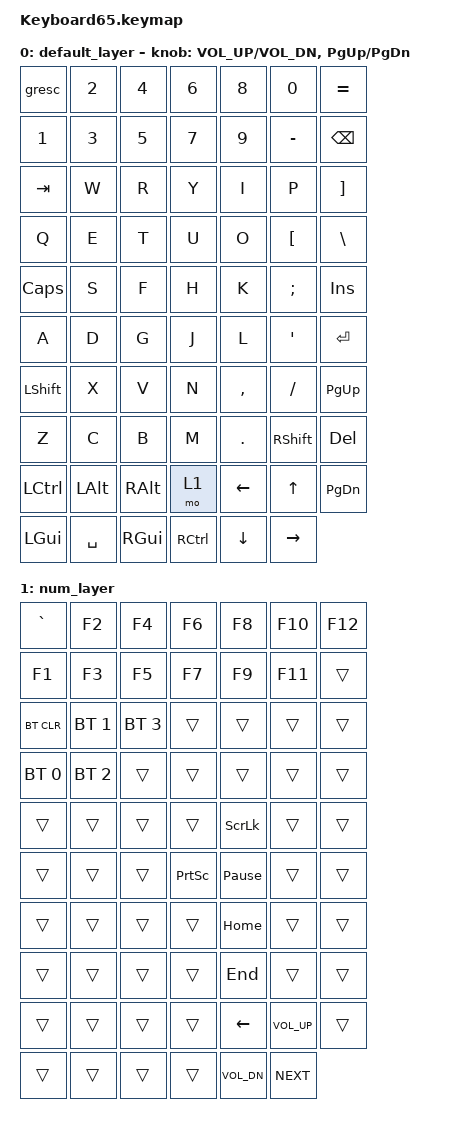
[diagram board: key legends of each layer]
/*
 * Copyright (c) 2021 Nick Winans
 *
 * SPDX-License-Identifier: MIT
 */

#include <behaviors.dtsi>
#include <dt-bindings/zmk/keys.h>
#include <dt-bindings/zmk/bt.h>

&gresc { keep-mods = <(MOD_LSFT|MOD_RSFT)>; };

/ {
    keymap {
        compatible = "zmk,keymap";

        default_layer {
// --------------------------------------------------------------------------------------------------------
// | ESC |  1  |  2  |  3  |  4  |  5  |  6  |  7  |  8  |  9  |  0  |  -  |  =  |  BSPC |  | Ins | PgU | |
// | TAB  |  Q  |  W  |  E  |  R  |  T  |  Y  |  U  |  I  |  O  |  P  |  [  |  ]  | "|"  |  | Del | PgD | |
// | CAPS  |  A  |  S  |  D  |  F  |  G  |  H  |  J  |  K  |  L  |  ;  |  '  |   ENTER   |                |
// |  SHIFT  |  Z  |  X  |  C  |  V  |  B  |  N  |  M  |  ,  |  .  |  /  |     SHIFT     |  |  UP |       |
// |  CTL  |  WIN  |  ALT  |            SPACE              |  ALT  |  Fn  |  CTL  |   | LFT | DWN | RGHT| |
// --------------------------------------------------------------------------------------------------------
// --------------------------------------------------------------------------------------------------------
// | R0C0| R1C0| R0C1| R1C1| R0C2| R1C2| R0C3| R1C3| R0C4| R1C4| R0C5| R1C5| R0C6|  R1C6 |  | R4C6| R6C6| |
// | R2C0 | R3C0| R2C1| R3C1| R2C2| R3C2| R2C3| R3C3| R2C4| R3C4| R2C5| R3C5| R2C6| R3C6 |  | R7C6| R8C6| |
// | R4C0  | R5C0| R4C1| R5C1| R4C2| R5C2| R4C3| R5C3| R4C4| R5C4| R4C5| R5C5|    R5C6   |                |
// |  R6C0   | R7C0| R6C1| R7C1| R6C2| R7C2| R6C3| R7C3| R6C4| R7C4| R6C5|      R7C5     |  | R8C5|       |
// |  R8C0 |  R9C0 |  R8C1 |             R9C1              |  R8C2 | R8C3 |  R9C3 |   | R8C4| R9C4| R9C5| |
// --------------------------------------------------------------------------------------------------------
// prettify
// ----------------------------------------------
// | ESC |  2  |  4  |  6  |  8  |  0  |  =  |  |
// |  1  |  3  |  5  |  7  |  9  |  -  | BSPC|  |
// | TAB |  W  |  R  |  Y  |  I  |  P  |  ]  |  |
// |  Q  |  E  |  T  |  U  |  O  |  [  | "|" |  |
// | CAPS|  S  |  F  |  H  |  K  |  ;  | Ins |  |
// |  A  |  D  |  G  |  J  |  L  |  '  |ENTER|  |
// |SHIFT|  X  |  V  |  N  |  ,  |  /  | PgU |  |
// |  Z  |  C  |  B  |  M  |  .  |SHIFT| Del |  |
// | CTL | ALT | ALT |  Fn | LFT |  UP | PgD |  |
// | WIN |SPACE| KNOB| CTL | DWN | RGHT|        |
// ----------------------------------------------
        bindings = <
    &gresc      &kp N2      &kp N4      &kp N6              &kp N8      &kp N0      &kp EQUAL
    &kp N1      &kp N3      &kp N5      &kp N7              &kp N9      &kp MINUS   &kp BSPC
    &kp TAB     &kp W       &kp R       &kp Y               &kp I       &kp P       &kp RBKT
    &kp Q       &kp E       &kp T       &kp U               &kp O       &kp LBKT    &kp BSLH
    &kp CLCK    &kp S       &kp F       &kp H               &kp K       &kp SEMI    &kp INS
    &kp A       &kp D       &kp G       &kp J               &kp L       &kp SQT     &kp RET
    &kp LSHFT   &kp X       &kp V       &kp N               &kp COMMA   &kp FSLH    &kp PG_UP
    &kp Z       &kp C       &kp B       &kp M               &kp DOT     &kp RSHFT   &kp DEL
    &kp LCTRL   &kp LALT    &kp RALT    &mo 1               &kp LEFT    &kp UP      &kp PG_DN
    &kp LGUI    &kp SPACE   &kp RGUI    &kp RCTRL           &kp DOWN    &kp RIGHT     
            >;
            sensor-bindings = <&inc_dec_kp C_VOL_UP C_VOL_DN &inc_dec_kp PG_UP PG_DN>;
        };

    

        num_layer {
// ------------------------------------------------------------------------------------------------
// | BT CLR | F1  | F2  | F3  | F4  | F5  | F6  | F7  | F8  | F9  | F10  | F11 | F12 | EFFECT REV |
// |  BT 1   |   |  UP |   | HUEUP | SATUP | BRIUP | SPDUP |   |     |    |     |     |           |
// |   BT 2   | LT |  DN  | RT | HUEDN | SATDN | BRIDN | SPDDN |   |     |   |     |  EFFECT FORW |
// |    BT 3     |     |      |      |     |     |     |     |     |     |     |                  |
// |   BT 4  |      |      |             TOG RGB                | PRT SCR |       |       |  DEL  |
// ------------------------------------------------------------------------------------------------
//            bindings = <
//    &bt BT_CLR   &kp F1    &kp F2    &kp F3  &kp F4           &kp F5          &kp F6          &kp F7          &kp F8   &kp F9   &kp F10  &kp F11 &kp F12  &rgb_ug RGB_EFR
//    &bt BT_SEL 0  &trans    &kp UP    &trans  &rgb_ug RGB_HUI  &rgb_ug RGB_SAI &rgb_ug RGB_BRI &rgb_ug RGB_SPI  &trans   &trans   &trans   &trans  &trans          &trans
//    &bt BT_SEL 1   &kp LEFT  &kp DOWN  &kp RIGHT &rgb_ug RGB_HUD &rgb_ug RGB_SAD &rgb_ug RGB_BRD &rgb_ug RGB_SPD &trans   &trans   &trans   &trans        &rgb_ug RGB_EFF
//    &bt BT_SEL 2    &trans    &trans    &trans   &trans          &trans          &trans          &trans          &trans   &trans   &trans                          &trans
//    &bt BT_SEL 3  &trans   &trans                            &rgb_ug RGB_TOG                                      &kp PSCRN      &trans      &trans               &kp DEL
//            >;
// --------------------------------------------------------------------------------------------------------
// |BTCLR|  F1 |  F2 |  F3 |  F4 |  F5 |  F6 |  F7 |  F8 |  F9 | F10 | F11 | F12 |  BSPC |  |     |     | |
// |      | BT0 | BT1 | BT2 | BT3 |     |     |     |     |     |     |     |     |      |  |     |     | |
// |       |     |     |     |     |     |     |PSCRN|SCRLK| Pus |     |     |           |                |
// |         |     |     |     |     |     |     |     | Home| End |     |               |  |     |       |
// |       |       |       |                               |       |      |       |   |     |     |     | |
// --------------------------------------------------------------------------------------------------------
// prettify
// ----------------------------------------------
// |  `  |  F2 |  F4 |  F6 |  F8 | F10 | F12 |  |
// |  F1 |  F3 |  F5 |  F7 |  F9 | F11 |     |  |
// |BTCLR| BT1 | BT3 |     |     |     |     |  |
// | BT0 | BT2 |     |     |     |     |     |  |
// |     |     |     |     |SCRLK|     |     |  |
// |     |     |     |PSCRN| Pus |     |     |  |
// |     |     |     |     | Home|     |     |  |
// |     |     |     |     | End |     |     |  |
// |     |     |     |     | PREV|VOLUP|     |  |
// |     |     |     |     |VOLDN| NEXT|        |
// ----------------------------------------------
            bindings = <
    &kp GRAVE    &kp F2          &kp F4          &kp F6     &kp F8          &kp F10         &kp F12
    &kp F1          &kp F3          &kp F5          &kp F7     &kp F9          &kp F11         &trans 
    &bt BT_CLR          &bt BT_SEL 1    &bt BT_SEL 3    &trans     &trans          &trans          &trans
    &bt BT_SEL 0    &bt BT_SEL 2    &trans          &trans     &trans          &trans          &trans
    &trans          &trans          &trans          &trans     &kp SLCK        &trans          &trans
    &trans          &trans          &trans          &kp PSCRN  &kp PAUSE_BREAK &trans          &trans
    &trans          &trans          &trans          &trans     &kp HOME        &trans          &trans
    &trans          &trans          &trans          &trans     &kp END         &trans          &trans
    &trans          &trans          &trans          &trans     &kp LEFT        &kp C_VOL_UP    &trans
    &trans          &trans          &trans          &trans     &kp C_VOL_DN    &kp C_NEXT     
            >;
        };
    };
};
